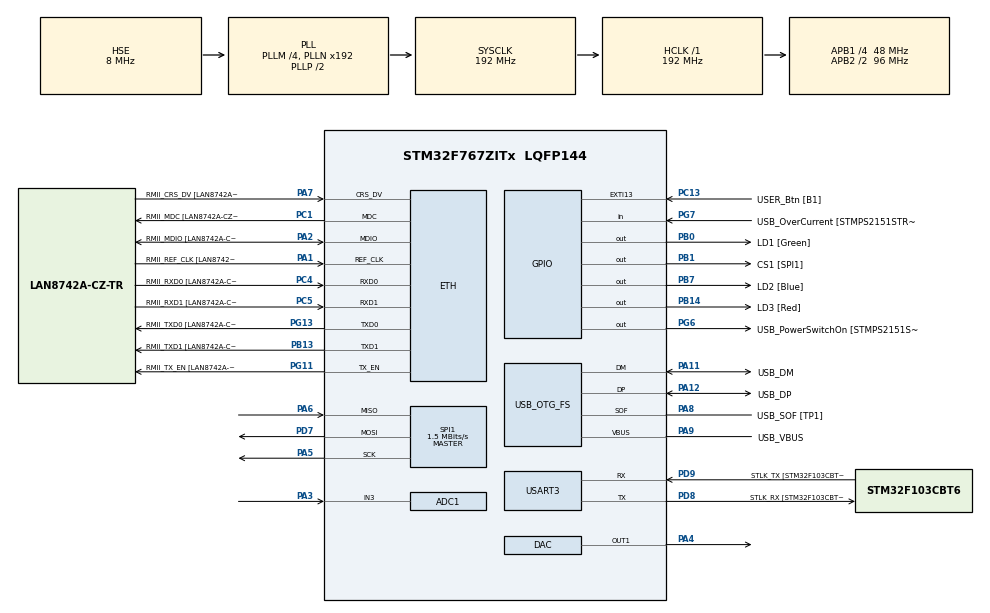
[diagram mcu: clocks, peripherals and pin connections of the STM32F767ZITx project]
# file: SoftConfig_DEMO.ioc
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ADC1.Channel-0\#ChannelRegularConversion=ADC_CHANNEL_3
ADC1.NbrOfConversionFlag=1
ADC1.Rank-0\#ChannelRegularConversion=1
ADC1.SamplingTime-0\#ChannelRegularConversion=ADC_SAMPLETIME_3CYCLES
ADC1.master=1
ETH.MediaInterface=ETH_MEDIA_INTERFACE_RMII
ETH.PHY_Name=LAN8742A_PHY_ADDRESS
ETH.PHY_Value=0
ETH.PhyAddress=0
FREERTOS.Tasks01=defaultTask,0,128,StartDefaultTask,Default,NULL,Dynamic,NULL,NULL
Mcu.Family=STM32F7
Mcu.Name=STM32F767ZITx
Mcu.Package=LQFP144
NVIC.ADC_IRQn=true\:5\:0\:false\:false\:true\:true\:true\:true
NVIC.EXTI15_10_IRQn=true\:5\:0\:false\:false\:true\:true\:true\:true
NVIC.PriorityGroup=NVIC_PRIORITYGROUP_4
NVIC.SPI1_IRQn=true\:5\:0\:false\:false\:true\:true\:true\:true
NVIC.TIM1_UP_TIM10_IRQn=true\:0\:0\:false\:false\:true\:false\:false\:true
NVIC.TIM3_IRQn=true\:5\:0\:false\:false\:true\:true\:true\:true
NVIC.TimeBase=TIM1_UP_TIM10_IRQn
NVIC.TimeBaseIP=TIM1
NVIC.USART3_IRQn=true\:5\:0\:false\:false\:true\:true\:true\:true
PA1.GPIO_Label=RMII_REF_CLK [LAN8742A-CZ-TR_REFCLK0]
PA1.Mode=RMII
PA1.Signal=ETH_REF_CLK
PA10.GPIO_Label=USB_ID
PA10.Signal=USB_OTG_FS_ID
PA11.GPIO_Label=USB_DM
PA11.Mode=Device_Only
PA11.Signal=USB_OTG_FS_DM
PA12.GPIO_Label=USB_DP
PA12.Mode=Device_Only
PA12.Signal=USB_OTG_FS_DP
PA13.GPIO_Label=TMS
PA13.Mode=Serial_Wire
PA13.Signal=SYS_JTMS-SWDIO
PA14.GPIO_Label=TCK
PA14.Mode=Serial_Wire
PA14.Signal=SYS_JTCK-SWCLK
PA2.GPIO_Label=RMII_MDIO [LAN8742A-CZ-TR_MDIO]
PA2.Mode=RMII
PA2.Signal=ETH_MDIO
PA3.Signal=ADCx_IN3
PA4.Signal=COMP_DAC1_group
PA5.Mode=Full_Duplex_Master
PA5.Signal=SPI1_SCK
PA6.Mode=Full_Duplex_Master
PA6.Signal=SPI1_MISO
PA7.GPIO_Label=RMII_CRS_DV [LAN8742A-CZ-TR_CRS_DV]
PA7.Mode=RMII
PA7.Signal=ETH_CRS_DV
PA8.GPIO_Label=USB_SOF [TP1]
PA8.Mode=Activate_SOF_FS
PA8.Signal=USB_OTG_FS_SOF
PA9.GPIO_Label=USB_VBUS
PA9.Mode=Activate_VBUS
PA9.Signal=USB_OTG_FS_VBUS
PB0.GPIO_Label=LD1 [Green]
PB0.Signal=GPIO_Output
PB1.GPIO_Label=CS1 [SPI1]
PB1.PinState=GPIO_PIN_SET
PB1.Signal=GPIO_Output
PB13.GPIO_Label=RMII_TXD1 [LAN8742A-CZ-TR_TXD1]
PB13.Mode=RMII
PB13.Signal=ETH_TXD1
PB14.GPIO_Label=LD3 [Red]
PB14.Signal=GPIO_Output
PB3.GPIO_Label=SWO
PB3.Signal=SYS_JTDO-SWO
PB7.GPIO_Label=LD2 [Blue]
PB7.Signal=GPIO_Output
PC1.GPIO_Label=RMII_MDC [LAN8742A-CZ-TR_MDC]
PC1.Mode=RMII
PC1.Signal=ETH_MDC
PC13.GPIO_Label=USER_Btn [B1]
PC13.Signal=GPXTI13
PC14/OSC32_IN.Mode=LSE-External-Oscillator
PC14/OSC32_IN.Signal=RCC_OSC32_IN
PC15/OSC32_OUT.Mode=LSE-External-Oscillator
PC15/OSC32_OUT.Signal=RCC_OSC32_OUT
PC4.GPIO_Label=RMII_RXD0 [LAN8742A-CZ-TR_RXD0]
PC4.Mode=RMII
PC4.Signal=ETH_RXD0
PC5.GPIO_Label=RMII_RXD1 [LAN8742A-CZ-TR_RXD1]
PC5.Mode=RMII
PC5.Signal=ETH_RXD1
PD7.Mode=Full_Duplex_Master
PD7.Signal=SPI1_MOSI
PD8.GPIO_Label=STLK_RX [STM32F103CBT6_PA3]
PD8.Mode=Asynchronous
PD8.Signal=USART3_TX
PD9.GPIO_Label=STLK_TX [STM32F103CBT6_PA2]
PD9.Mode=Asynchronous
PD9.Signal=USART3_RX
PG11.GPIO_Label=RMII_TX_EN [LAN8742A-CZ-TR_TXEN]
PG11.Mode=RMII
PG11.Signal=ETH_TX_EN
PG13.GPIO_Label=RMII_TXD0 [LAN8742A-CZ-TR_TXD0]
PG13.Mode=RMII
PG13.Signal=ETH_TXD0
PG6.GPIO_Label=USB_PowerSwitchOn [STMPS2151STR_EN]
PG6.Signal=GPIO_Output
PG7.GPIO_Label=USB_OverCurrent [STMPS2151STR_FAULT]
PG7.Signal=GPIO_Input
PH0/OSC_IN.GPIO_Label=MCO [STM32F103CBT6_PA8]
PH0/OSC_IN.Mode=HSE-External-Clock-Source
PH0/OSC_IN.Signal=RCC_OSC_IN
PH1/OSC_OUT.Mode=HSE-External-Clock-Source
PH1/OSC_OUT.Signal=RCC_OSC_OUT
ProjectManager.HeapSize=0x200
ProjectManager.StackSize=0x400
ProjectManager.TargetToolchain=STM32CubeIDE
RCC.48MHZClocksFreq_Value=24000000
RCC.AHBFreq_Value=192000000
RCC.APB1CLKDivider=RCC_HCLK_DIV4
RCC.APB1Freq_Value=48000000
RCC.APB1TimFreq_Value=96000000
RCC.APB2CLKDivider=RCC_HCLK_DIV2
RCC.APB2Freq_Value=96000000
RCC.APB2TimFreq_Value=192000000
RCC.CortexFreq_Value=192000000
RCC.HCLKFreq_Value=192000000
RCC.HSE_VALUE=8000000
RCC.HSI_VALUE=16000000
RCC.PLLM=4
RCC.PLLMUL=RCC_PLL_MUL9
RCC.PLLQ=8
RCC.PRESCALERUSB=RCC_USBCLKSOURCE_PLL_DIV1_5
RCC.SYSCLKFreq_VALUE=192000000
RCC.SYSCLKSource=RCC_SYSCLKSOURCE_PLLCLK
RCC.SYSCLKSourceVirtual=RCC_SYSCLKSOURCE_PLLCLK
RCC.USBFreq_Value=48000000
RCC.VCOOutputFreq_Value=384000000
SH.ADCx_IN3.0=ADC1_IN3,IN3
SH.COMP_DAC1_group.0=DAC_OUT1,DAC_OUT1
SPI1.BaudRatePrescaler=SPI_BAUDRATEPRESCALER_64
SPI1.CalculateBaudRate=1.5 MBits/s
SPI1.DataSize=SPI_DATASIZE_8BIT
SPI1.Direction=SPI_DIRECTION_2LINES
SPI1.Mode=SPI_MODE_MASTER
SPI1.VirtualType=VM_MASTER
TIM3.Channel-Output\ Compare1\ No\ Output=TIM_CHANNEL_1
TIM3.Period=1
TIM3.Prescaler=1919
USART3.VirtualMode-Asynchronous=VM_ASYNC
USB_OTG_FS.VirtualMode=Device_Only
VP_FREERTOS_VS_CMSIS_V1.Mode=CMSIS_V1
VP_SYS_VS_tim1.Mode=TIM1
VP_TIM3_VS_ClockSourceINT.Mode=Internal
VP_TIM3_VS_no_output1.Mode=Output Compare1 No Output
board=NUCLEO-F767ZI

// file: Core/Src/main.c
/* USER CODE BEGIN Header */
/**
 ******************************************************************************
 * @file           : main.c
 * @brief          : Main program body
 * @Author         : Fabian Castano
 * @Institution    : University of Antioquia
 * @Project        : DUNE-Daphne
 ******************************************************************************
 * @attention
 *
 * <h2><center>&copy; Copyright (c) 2020 STMicroelectronics.
 * All rights reserved.</center></h2>
 *
 * This software component is licensed by ST under BSD 3-Clause license,
 * the "License"; You may not use this file except in compliance with the
 * License. You may obtain a copy of the License at:
 *                        opensource.org/licenses/BSD-3-Clause
 *
 ******************************************************************************
 */
/* USER CODE END Header */

#include "main.h"
#include "cmsis_os.h"
#include "adc.h"
#include "dac.h"
#include "eth.h"
#include "spi.h"
#include "tim.h"
#include "usart.h"
#include "usb_otg.h"
#include "gpio.h"

/* USER CODE BEGIN PTD */
volatile STR_FLAGS _Events; // flags to handle different events

/* USER CODE END PTD */

/* USER CODE BEGIN PV */
// counter for time interruption
uint16_t count_us = 0;
uint16_t count_ms = 0;

uint16_t value_dac = 0;

/* USER CODE END PV */

void SystemClock_Config(void);
void MX_FREERTOS_Init(void);

/* USER CODE BEGIN 0 */
#ifdef __GNUC__
/* With GCC/RAISONANCE, small printf (option LD Linker->Libraries->Small printf
 set to 'Yes') calls __io_putchar() */
#define PUTCHAR_PROTOTYPE int __io_putchar(int ch)
#else
#define PUTCHAR_PROTOTYPE int fputc(int ch, FILE *f)
#endif /* __GNUC__ */
/* USER CODE END 0 */

int main(void) {

	/* MCU Configuration--------------------------------------------------------*/

	/* Reset of all peripherals, Initializes the Flash interface and the Systick. */
	HAL_Init();

	/* Configure the system clock */
	SystemClock_Config();

	/* Initialize all configured peripherals */
	MX_GPIO_Init();
	MX_ETH_Init();
	MX_USART3_UART_Init();
	MX_USB_OTG_FS_PCD_Init();
	MX_TIM3_Init();
	MX_ADC1_Init();
	MX_DAC_Init();
	MX_SPI1_Init();
	/* USER CODE BEGIN 2 */

	printf("Hello STM32F767ZI HAL FREERTOS\n");
	// initialization of timer interrupt
	if (HAL_TIM_Base_Start_IT(&htim3) != HAL_OK) {
		/* Starting Error */
		Error_Handler();
	}

	/* USER CODE END 2 */

	/* Call init function for freertos objects (in freertos.c) */
	MX_FREERTOS_Init();
	/* Start scheduler */
	osKernelStart();

	/* We should never get here as control is now taken by the scheduler */
	/* Infinite loop */
	while (1) {

	}
}

void SystemClock_Config(void) {
	RCC_OscInitTypeDef RCC_OscInitStruct = { 0 };
	RCC_ClkInitTypeDef RCC_ClkInitStruct = { 0 };
	RCC_PeriphCLKInitTypeDef PeriphClkInitStruct = { 0 };

	/** Configure LSE Drive Capability
	 */
	HAL_PWR_EnableBkUpAccess();
	/** Configure the main internal regulator output voltage
	 */
	__HAL_RCC_PWR_CLK_ENABLE();
	__HAL_PWR_VOLTAGESCALING_CONFIG(PWR_REGULATOR_VOLTAGE_SCALE1);
	/** Initializes the CPU, AHB and APB busses clocks
	 */
	RCC_OscInitStruct.OscillatorType = RCC_OSCILLATORTYPE_HSE;
	RCC_OscInitStruct.HSEState = RCC_HSE_BYPASS;
	RCC_OscInitStruct.PLL.PLLState = RCC_PLL_ON;
	RCC_OscInitStruct.PLL.PLLSource = RCC_PLLSOURCE_HSE;
	RCC_OscInitStruct.PLL.PLLM = 4;
	RCC_OscInitStruct.PLL.PLLN = 192;
	RCC_OscInitStruct.PLL.PLLP = RCC_PLLP_DIV2;
	RCC_OscInitStruct.PLL.PLLQ = 8;
	if (HAL_RCC_OscConfig(&RCC_OscInitStruct) != HAL_OK) {
		Error_Handler();
	}
	/** Activate the Over-Drive mode
	 */
	if (HAL_PWREx_EnableOverDrive() != HAL_OK) {
		Error_Handler();
	}
	/** Initializes the CPU, AHB and APB busses clocks
	 */
	RCC_ClkInitStruct.ClockType = RCC_CLOCKTYPE_HCLK | RCC_CLOCKTYPE_SYSCLK
			| RCC_CLOCKTYPE_PCLK1 | RCC_CLOCKTYPE_PCLK2;
	RCC_ClkInitStruct.SYSCLKSource = RCC_SYSCLKSOURCE_PLLCLK;
	RCC_ClkInitStruct.AHBCLKDivider = RCC_SYSCLK_DIV1;
	RCC_ClkInitStruct.APB1CLKDivider = RCC_HCLK_DIV4;
	RCC_ClkInitStruct.APB2CLKDivider = RCC_HCLK_DIV2;

	if (HAL_RCC_ClockConfig(&RCC_ClkInitStruct, FLASH_LATENCY_6) != HAL_OK) {
		Error_Handler();
	}
	PeriphClkInitStruct.PeriphClockSelection = RCC_PERIPHCLK_USART3
			| RCC_PERIPHCLK_CLK48;
	PeriphClkInitStruct.Usart3ClockSelection = RCC_USART3CLKSOURCE_PCLK1;
	PeriphClkInitStruct.Clk48ClockSelection = RCC_CLK48SOURCE_PLL;
	if (HAL_RCCEx_PeriphCLKConfig(&PeriphClkInitStruct) != HAL_OK) {
		Error_Handler();
	}
}

/* USER CODE BEGIN 4 */
/**
 * @brief Retargets the C library printf function to the USART.
 * @param None
 * @retval None
 */
PUTCHAR_PROTOTYPE {
	/* Place your implementation of fputc here */
	/* e.g. write a character to the USART2 and Loop until the end of transmission */
	HAL_UART_Transmit(&huart3, (uint8_t*) &ch, 1, 0xFFFF);

	return ch;
}

/* USER CODE END 4 */

void HAL_TIM_PeriodElapsedCallback(TIM_HandleTypeDef *htim) {
	if (htim->Instance == TIM1) {
		HAL_IncTick();
	}
	/* USER CODE BEGIN Callback 1 */
	if (htim->Instance == TIM3) {
		count_us++;
		if (count_us == 100 / 4) {
			count_us = 0;
			count_ms++;

			if (count_ms % 100 == 0) { // sample in ADC every 50 ms
				fl_adc1_smp = TRUE;

				HAL_DAC_SetValue(&hdac, DAC_CHANNEL_1, DAC_ALIGN_12B_R,
						value_dac);
				value_dac = value_dac + 50;
				if (value_dac > 4095) {
					value_dac = 0;
				}
			}
			if (count_ms == 500) {
				count_ms = 0;
				fl_tim3_per = TRUE;
			}
		}

	}
	/* USER CODE END Callback 1 */
}

void Error_Handler(void) {
}

/************************ (C) COPYRIGHT STMicroelectronics *****END OF FILE****/

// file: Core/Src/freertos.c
/* USER CODE BEGIN Header */
/**
 ******************************************************************************
 * File Name          : freertos.c
 * Description        : Code for freertos applications
 * @Author            : Fabian Castano
 * @Institution       : University of Antioquia
 * @Project           : DUNE-Daphne
 ******************************************************************************
 * @attention
 *
 * <h2><center>&copy; Copyright (c) 2020 STMicroelectronics.
 * All rights reserved.</center></h2>
 *
 * This software component is licensed by ST under Ultimate Liberty license
 * SLA0044, the "License"; You may not use this file except in compliance with
 * the License. You may obtain a copy of the License at:
 *                             www.st.com/SLA0044
 *
 ******************************************************************************
 */
/* USER CODE END Header */

#include "FreeRTOS.h"
#include "task.h"
#include "main.h"
#include "cmsis_os.h"

/* USER CODE BEGIN Includes */
#include "string.h"
#include "stdio.h"
#include "cmdsFile.h"

/* USER CODE END Includes */

/* USER CODE BEGIN PTD */
// declaration of external variables
extern volatile STR_FLAGS _Events; // flags to handle different events
/* USER CODE END PTD */

/* USER CODE BEGIN PD */
uint8_t datoPruebaTx[7] = "Fabian\n";
uint8_t *pDataTx;
uint8_t datoPruebaRx[7];
uint8_t *pDataRx;

uint16_t adcValue = 0;
uint8_t ValAdcPrint[7];

/* USER CODE END PD */

/* USER CODE BEGIN PM */
uint8_t getVerFl = FALSE;
uint8_t blinkLedFl = FALSE;

/* USER CODE END PM */

/* USER CODE BEGIN Variables */
// Task handle variable
xTaskHandle taskLed2Handle;   // variable to handle the task Led 2
xTaskHandle taskLed3Handle;
xTaskHandle taskSpi1Handle;
xTaskHandle taskISRAttnHandle;

// Semaphore handle variable
SemaphoreHandle_t semaphButton1;
SemaphoreHandle_t semaphTimer3;
SemaphoreHandle_t semaphSpi1;

/* USER CODE END Variables */
osThreadId defaultTaskHandle;

/* USER CODE BEGIN FunctionPrototypes */
void taskLed2(void *arg);  // prototype of task Led 2.
void taskLed3(void *arg);
void taskSpi1(void *arg);
void taskISRAttn(void *arg);

/* USER CODE END FunctionPrototypes */

void StartDefaultTask(void const *argument);

void MX_FREERTOS_Init(void); /* (MISRA C 2004 rule 8.1) */

/* GetIdleTaskMemory prototype (linked to static allocation support) */
void vApplicationGetIdleTaskMemory(StaticTask_t **ppxIdleTaskTCBBuffer,
		StackType_t **ppxIdleTaskStackBuffer, uint32_t *pulIdleTaskStackSize);

/* USER CODE BEGIN GET_IDLE_TASK_MEMORY */
static StaticTask_t xIdleTaskTCBBuffer;
static StackType_t xIdleStack[configMINIMAL_STACK_SIZE];

void vApplicationGetIdleTaskMemory(StaticTask_t **ppxIdleTaskTCBBuffer,
		StackType_t **ppxIdleTaskStackBuffer, uint32_t *pulIdleTaskStackSize) {
	*ppxIdleTaskTCBBuffer = &xIdleTaskTCBBuffer;
	*ppxIdleTaskStackBuffer = &xIdleStack[0];
	*pulIdleTaskStackSize = configMINIMAL_STACK_SIZE;
	/* place for user code */
}
/* USER CODE END GET_IDLE_TASK_MEMORY */

void MX_FREERTOS_Init(void) {

	/* USER CODE BEGIN RTOS_SEMAPHORES */
	/* add semaphores, ... */
	semaphButton1 = xSemaphoreCreateBinary(); // creation of binary semaphore to button 1
	semaphTimer3 = xSemaphoreCreateBinary(); // creation of binary semaphore to timer 3
	semaphSpi1 = xSemaphoreCreateBinary(); // creation of binary semaphore to spi 1
	/* USER CODE END RTOS_SEMAPHORES */

	/* USER CODE BEGIN RTOS_QUEUES */
	/* add queues, ... */
	Fifo_Rx3_Init();
	Fifo_Tx3_Init();
	/* USER CODE END RTOS_QUEUES */

	/* Create the thread(s) */
	/* definition and creation of defaultTask */
	osThreadDef(defaultTask, StartDefaultTask, osPriorityNormal, 0, 128);
	defaultTaskHandle = osThreadCreate(osThread(defaultTask), NULL);

	/* USER CODE BEGIN RTOS_THREADS */
	/* add threads, ... */
	xTaskCreate(taskLed2, "Task_LED2", 512, NULL, 1, &taskLed2Handle); // task to blink LED 2
	xTaskCreate(taskLed3, "Task_LED3", 512, NULL, 1, &taskLed3Handle); // task to blink LED 2
	xTaskCreate(taskSpi1, "Task_SPI1", 512, NULL, 1, &taskSpi1Handle); // task to SPI handle
	xTaskCreate(taskISRAttn, "Task_ISR_Attn", 512, NULL, 1, &taskISRAttnHandle); // task to handle interruption attention
	/* USER CODE END RTOS_THREADS */

}

/* USER CODE BEGIN Header_StartDefaultTask */
/**
 * @brief  Function implementing the defaultTask thread to blink a LED.-
 * @param  argument: Not used
 * @retval None
 */
/* USER CODE END Header_StartDefaultTask */
void StartDefaultTask(void const *argument) {
	/* USER CODE BEGIN StartDefaultTask */

	printf("Software DEMO_FC, DUNE-Daphne STM32Cube with FreeRTOS\n");
	/* Infinite loop */
	for (;;) {

		if (xSemaphoreTake(semaphTimer3, portMAX_DELAY) == pdTRUE) {
			HAL_GPIO_TogglePin(LD1_GPIO_Port, LD1_Pin);
			// osDelay(1000);
		}
		// vTaskDelay(500 / portTICK_PERIOD_MS);
	}
	/* USER CODE END StartDefaultTask */
}

/* USER CODE BEGIN Application */
/**
 * @brief  Function implementing the defaultTask thread to blink a LED 2.-
 * @param  argument: Not used
 * @retval None
 */
void taskLed2(void *arg) {

	uint8_t led2State = 0;

	/* Infinite loop */
	while (TRUE) {
		// read the state of LED 2 pin.
		led2State = !HAL_GPIO_ReadPin(LD2_GPIO_Port, LD2_Pin);
		// blink the LED 2 every 1 sec.
		HAL_GPIO_WritePin(LD2_GPIO_Port, LD2_Pin, led2State);

		//pDataTx = datoPruebaTx;
		//pDataRx = datoPruebaRx;
		//while ((*pDataTx != 0) && (Fifo_Tx3_Put(*pDataTx))) {
		//	pDataTx++;
		//}
		//if (Fifo_Tx3_Get(pDataRx) == 1) {
		//	USART3_UART_SendChar(pDataRx);
		//}

		vTaskDelay(1000 / portTICK_PERIOD_MS);
	}
	vTaskDelete(taskLed2Handle);
}

/**
 * @brief  Function implementing the defaultTask thread to blink a LED 3.-
 * @param  argument: Not used
 * @retval None
 */
void taskLed3(void *arg) {

	/* Infinite loop */
	while (TRUE) {

		if (xSemaphoreTake(semaphButton1, portMAX_DELAY) == pdTRUE) {
			// turn on the LED 3 for 1 sec when Button 1 was pressed.
			HAL_GPIO_WritePin(LD3_GPIO_Port, LD3_Pin, HIGH);
			vTaskDelay(2000 / portTICK_PERIOD_MS);
			HAL_GPIO_WritePin(LD3_GPIO_Port, LD3_Pin, LOW);

			printf("Light turned off\n");
		}

	}
	vTaskDelete(taskLed3Handle);
}

/**
 * @brief  Function implementing the interruption handle.-
 * @param  argument: Not used
 * @retval None
 */
void taskSpi1(void *args) {

	uint8_t dataSend[12] = "FABIANABCDEF";
	uint8_t dataRecv[6];
	uint8_t count = 0;
	uint8_t size = 6;

	uint8_t *pdata;

	/* Infinite loop */
	while (TRUE) {

		count++;
		if (count % 2 == 0) {
			pdata = dataSend + size;
		} else {
			pdata = dataSend;
		}

		HAL_GPIO_WritePin(CS1_GPIO_Port, CS1_Pin, LOW);
		HAL_SPI_TransmitReceive_IT(&hspi1, pdata, dataRecv, size);

		if (xSemaphoreTake(semaphSpi1, portMAX_DELAY) == pdTRUE) {
			// semaphore by SPI interrupt received
			HAL_GPIO_WritePin(CS1_GPIO_Port, CS1_Pin, HIGH);

			// printf("Data received = ");
			// printf(dataRecv);
			// printf("\n");
		}
		vTaskDelay(500);
	}
	vTaskDelete(taskSpi1Handle);
}

/**
 * @brief  Function implementing the interruption handle.-
 * @param  argument: Not used
 * @retval None
 */
void taskISRAttn(void *arg) {

	uint8_t dataRec[8];
	uint8_t *pDaRec;

	fl_adc1_print = FALSE;

	USART3_Interrupt_Init();

	/* Infinite loop */
	while (TRUE) {
		if (fl_ext_it_btn) {
			fl_ext_it_btn = FALSE; // interruption attended
			xSemaphoreGive(semaphButton1);
			printf("Semaphore Button delivered\n");
			vTaskDelay(10 / portTICK_PERIOD_MS);
		}
		if (fl_tim3_per) {
			fl_tim3_per = FALSE;
			// printf("Semaphore Timer delivered\n");
			xSemaphoreGive(semaphTimer3);
			vTaskDelay(10 / portTICK_PERIOD_MS);
		}
		if (fl_adc1_smp) {
			fl_adc1_smp = FALSE;
			HAL_ADC_Start_IT(&hadc1);
		}
		if (fl_spi1_isr) {
			fl_spi1_isr = FALSE;
			// printf("Semaphore SPI delivered\n");
			xSemaphoreGive(semaphSpi1);
			vTaskDelay(10 / portTICK_PERIOD_MS);
		}
		if (fl_adc1_ch3) {
			(void) Adc1Ch3_GetValue(&adcValue); // obtain ADC data form buffer
			fl_adc1_ch3 = FALSE;
			if (fl_adc1_print) {
				fl_adc1_print = FALSE;
				itoa(adcValue, ValAdcPrint, 10);
				(void) strcat(ValAdcPrint, "\n");

				pDaRec = ValAdcPrint;

				while ((*pDaRec != 0) && (Fifo_Tx3_Put(*pDaRec))) {
					*pDaRec = 0;
					pDaRec++;
				}
				pDaRec = dataRec;
				if (Fifo_Tx3_Get(pDaRec) == 1) {
					USART3_UART_SendChar(pDaRec);
				}
			}
		}
		if (fl_usart3_rx) {
			fl_usart3_rx = FALSE; // interrupt attended

			pDaRec = dataRec;
			while (Fifo_Rx3_Get(pDaRec)) {
				// *pDaRec += 1;
				pDaRec++;
			}
			*pDaRec = 0;  // erase the last character in text

			// Compare data to execute console commands
			if (strcmp((const char*) gver, (const char*) dataRec) == 0) {
				// Command  to send software version
				pDaRec = verResp;
				vTaskDelay(10 / portTICK_PERIOD_MS);
			} else if (strcmp((const char*) blkl, (const char*) dataRec) == 0) {
				// command to blink LED
				pDaRec = blkResp;
				xSemaphoreGive(semaphButton1);
				vTaskDelay(10 / portTICK_PERIOD_MS);

			} else if (strcmp((const char*) adcn, (const char*) dataRec) == 0) {
				// command to blink LED
				pDaRec = adcResp;
				fl_adc1_print = TRUE;
				vTaskDelay(10 / portTICK_PERIOD_MS);

			} else {
				// Inform that the command is not recognized
				pDaRec = failMsg;
				vTaskDelay(10 / portTICK_PERIOD_MS);
			}

			// end of comparing

			// pDaRec = dataRec;

			while ((*pDaRec != 0) && (Fifo_Tx3_Put(*pDaRec))) {
				// *pDaRec = 0;
				pDaRec++;
			}
			pDaRec = dataRec;
			if (Fifo_Tx3_Get(pDaRec) == 1) {
				USART3_UART_SendChar(pDaRec);
			}

		}
	}
	vTaskDelete(taskISRAttnHandle);
}

/* USER CODE END Application */

/************************ (C) COPYRIGHT STMicroelectronics *****END OF FILE****/
